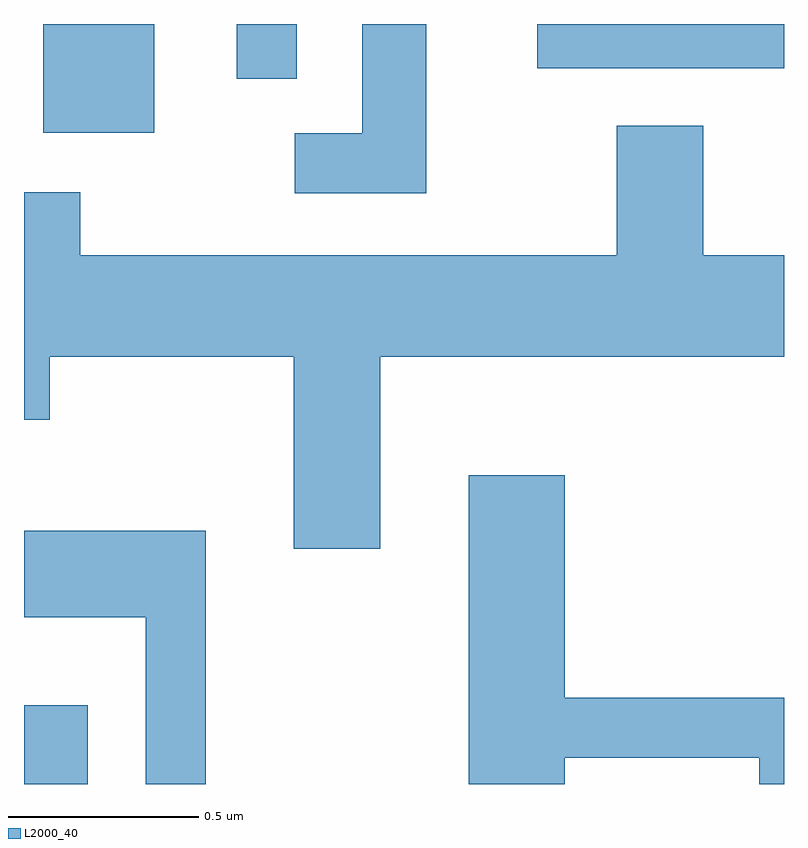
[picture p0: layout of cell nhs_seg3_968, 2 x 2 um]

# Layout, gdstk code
import gdstk
lib = gdstk.Library(unit=1e-6, precision=1e-09)
def R(c, l, rs):  # rectangles x0, y0, x1, y1
    for r in rs: c.add(gdstk.rectangle(r[:2], r[2:], *l))
def P(c, l, *ps):  # polygons
    for p in ps: c.add(gdstk.Polygon(p, *l))
L2000_40 = (2000, 40)

nhs_seg3_968 = lib.new_cell('nhs_seg3_968')
R(nhs_seg3_968, L2000_40, [(192.611,1124.892,192.779,1125.099), (192.661,1126.606,192.954,1126.892), (193.171,1126.748,193.329,1126.892), (193.961,1126.776,194.611,1126.892)])
P(nhs_seg3_968, L2000_40, [(193.669,1126.892),(193.501,1126.892),(193.501,1126.604),(193.323,1126.604),(193.323,1126.446),(193.669,1126.446)],
  [(193.549,1126.016),(194.611,1126.016),(194.611,1126.284),(194.399,1126.284),(194.399,1126.624),(194.171,1126.624),(194.171,1126.284),(192.759,1126.284),(192.759,1126.449),(192.611,1126.449),(192.611,1125.851),(192.679,1125.851),(192.679,1126.016),(193.321,1126.016),(193.321,1125.511),(193.549,1125.511)],
  [(194.034,1124.961),(194.546,1124.961),(194.546,1124.892),(194.611,1124.892),(194.611,1125.119),(194.034,1125.119),(194.034,1125.704),(193.781,1125.704),(193.781,1124.892),(194.034,1124.892)],
  [(193.089,1125.559),(192.611,1125.559),(192.611,1125.331),(192.931,1125.331),(192.931,1124.892),(193.089,1124.892)])

lib.write_gds('nhs_seg3_968.gds')
